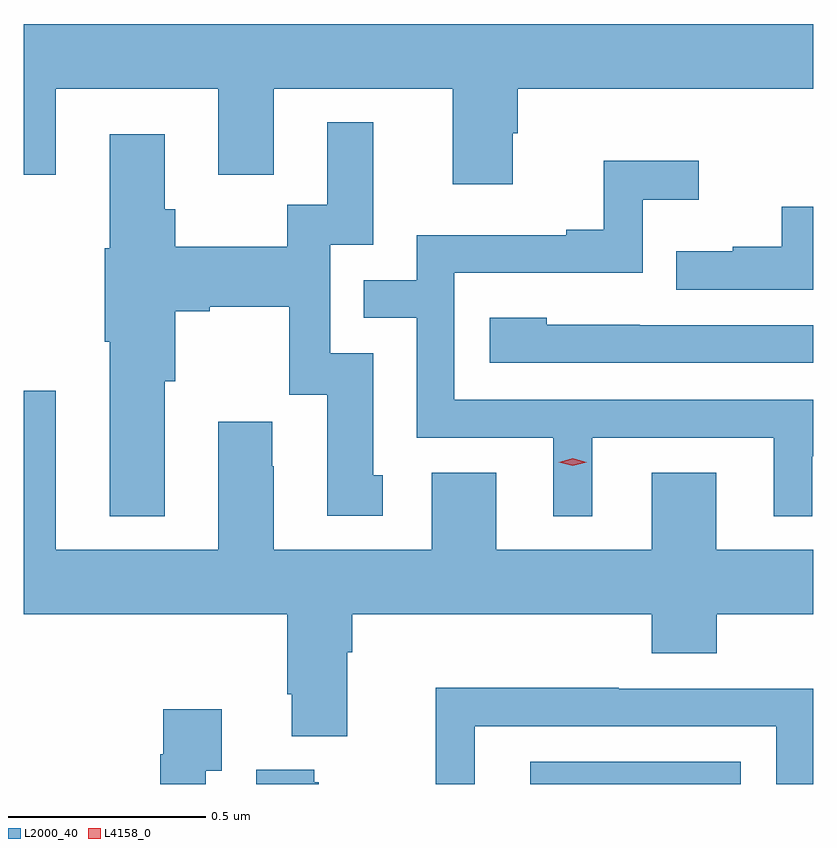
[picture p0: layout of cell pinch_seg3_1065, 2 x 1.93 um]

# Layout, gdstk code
import gdstk
lib = gdstk.Library(unit=1e-6, precision=1e-09)
def R(c, l, rs):  # rectangles x0, y0, x1, y1
    for r in rs: c.add(gdstk.rectangle(r[:2], r[2:], *l))
def P(c, l, *ps):  # polygons
    for p in ps: c.add(gdstk.Polygon(p, *l))
L2000_40 = (2000, 40)
L4158_0 = (4158, 0)

pinch_seg3_1065 = lib.new_cell('pinch_seg3_1065')
R(pinch_seg3_1065, L2000_40, [(358.971,729.79,359.505,729.846)])
P(pinch_seg3_1065, L2000_40, [(358.927,731.439),(358.94,731.439),(358.94,731.552),(359.688,731.552),(359.688,731.716),(357.688,731.716),(357.688,731.334),(357.769,731.334),(357.769,731.552),(358.181,731.552),(358.181,731.334),(358.321,731.334),(358.321,731.552),(358.775,731.552),(358.775,731.31),(358.927,731.31)],
  [(358.045,730.811),(358.071,730.811),(358.071,730.988),(358.159,730.988),(358.159,731),(358.361,731),(358.361,730.776),(358.457,730.776),(358.457,730.47),(358.597,730.47),(358.597,730.572),(358.573,730.572),(358.573,730.881),(358.464,730.881),(358.464,731.157),(358.573,731.157),(358.573,731.467),(358.457,731.467),(358.457,731.258),(358.356,731.258),(358.356,731.152),(358.071,731.152),(358.071,731.247),(358.045,731.247),(358.045,731.437),(357.905,731.437),(357.905,731.148),(357.893,731.148),(357.893,730.911),(357.905,730.911),(357.905,730.469),(358.045,730.469)],
  [(359.128,730.668),(359.588,730.668),(359.588,730.469),(359.686,730.469),(359.686,730.62),(359.688,730.62),(359.688,730.764),(358.779,730.764),(358.779,731.085),(359.256,731.085),(359.256,731.27),(359.398,731.27),(359.398,731.369),(359.158,731.369),(359.158,731.194),(359.063,731.194),(359.063,731.181),(358.683,731.181),(358.683,731.067),(358.549,731.067),(358.549,730.971),(358.683,730.971),(358.683,730.668),(359.03,730.668),(359.03,730.469),(359.128,730.469)],
  [(359.688,731.253),(359.609,731.253),(359.609,731.152),(359.485,731.152),(359.485,731.14),(359.341,731.14),(359.341,731.043),(359.688,731.043)],
  [(359.688,730.953),(359.249,730.953),(359.249,730.954),(359.013,730.954),(359.013,730.972),(358.869,730.972),(358.869,730.857),(359.688,730.857)],
  [(358.507,730.124),(358.52,730.124),(358.52,730.22),(359.279,730.22),(359.279,730.121),(359.444,730.121),(359.444,730.22),(359.688,730.22),(359.688,730.384),(359.443,730.384),(359.443,730.579),(359.279,730.579),(359.279,730.384),(358.885,730.384),(358.885,730.579),(358.721,730.579),(358.721,730.384),(358.321,730.384),(358.321,730.595),(358.318,730.595),(358.318,730.708),(358.181,730.708),(358.181,730.384),(357.769,730.384),(357.769,730.786),(357.688,730.786),(357.688,730.22),(358.355,730.22),(358.355,730.018),(358.367,730.018),(358.367,729.911),(358.507,729.911)],
  [(358.83,729.936),(359.595,729.936),(359.595,729.79),(359.688,729.79),(359.688,730.032),(359.195,730.032),(359.195,730.034),(358.732,730.034),(358.732,729.79),(358.83,729.79)],
  [(358.149,729.823),(358.189,729.823),(358.189,729.979),(358.041,729.979),(358.041,729.866),(358.033,729.866),(358.033,729.79),(358.149,729.79)],
  [(358.435,729.795),(358.424,729.795),(358.424,729.826),(358.277,729.826),(358.277,729.79),(358.435,729.79)])
P(pinch_seg3_1065, L4158_0, [(359.079,730.596),(359.043,730.606),(359.043,730.606),(359.043,730.606),(359.079,730.616),(359.115,730.606),(359.115,730.606),(359.115,730.606)])

lib.write_gds('pinch_seg3_1065.gds')
